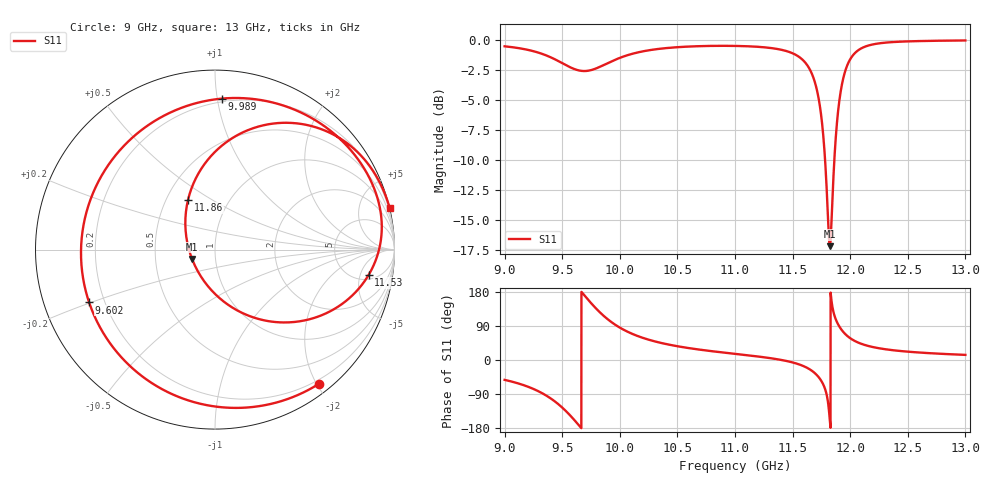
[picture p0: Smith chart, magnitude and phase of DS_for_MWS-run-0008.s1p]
! TOUCHSTONE file generated by CST DESIGN STUDIO
! Date and time: Tue Feb  4 18:15:39 2025
! Project name: C:\Work\MatlabApps\UnitCellOptimizationMatlab\CST\unitcell.cst
! Tree item: Tasks\Sweep1\SPara1\S-Parameters
! Header version: 2024
! Port assignment regex: !\s*Touchstone port\s*([0-9]+)\s*=\s*(CST MWS port|CST DES external port|CST DES block port)\s*(.+)\s* \(\"(.*)\"\)(\s*mode\s*([0-9]+))?.*
! Touchstone port assignment:
! Touchstone port 1 = CST DES external port 1 ("")
# GHz S MA R 50
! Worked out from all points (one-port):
!   4001 points, 9 GHz to 13 GHz, reference 50 ohm
!   lowest |S11| = -17.2 dB at 11.82 GHz (marker M1), VSWR 1.32, Z = 38.5 - j4.05 ohm
!   |S11| at or under -10 dB: 11.78 GHz to 11.86 GHz (80.2 MHz wide, 0.678 % of centre)
!   S11 on the Smith chart (normalised r, x): 9 GHz: 0.14, -2.02; 9.602 GHz: 0.14, -0.20; 9.989 GHz: 0.18, +1.03; 11.53 GHz: 6.07, -6.93; 11.86 GHz: 0.64, +0.39; 13 GHz: -0.01, +8.45
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9  0.9456 -52.4
9.168  0.9208 -66.7
9.32  0.8811 -86.6
9.416  0.8436 -104.8
9.5  0.8043 -125.5
9.602  0.7606 -157.2
9.701  0.7453 167.5
9.811  0.7701 130.6
9.895  0.8042 107.5
9.989  0.8419 87.5
10  0.8459 85.5
10.219  0.9042 56.5
10.5  0.9374 36.3
11  0.949 16.2
11.5  0.8841 -6.4
11.534  0.8674 -9.4
11.649  0.7575 -24.7
11.734  0.543 -48.3
11.779  0.3329 -74.0
11.823  0.138 -158.0
11.837  0.1716 157.9
11.862  0.3148 118.6
11.924  0.6385 80.1
12  0.8346 57.5
12.076  0.9147 45.1
12.173  0.957 35.8
12.5  0.9914 22.0
13  1 13.5
